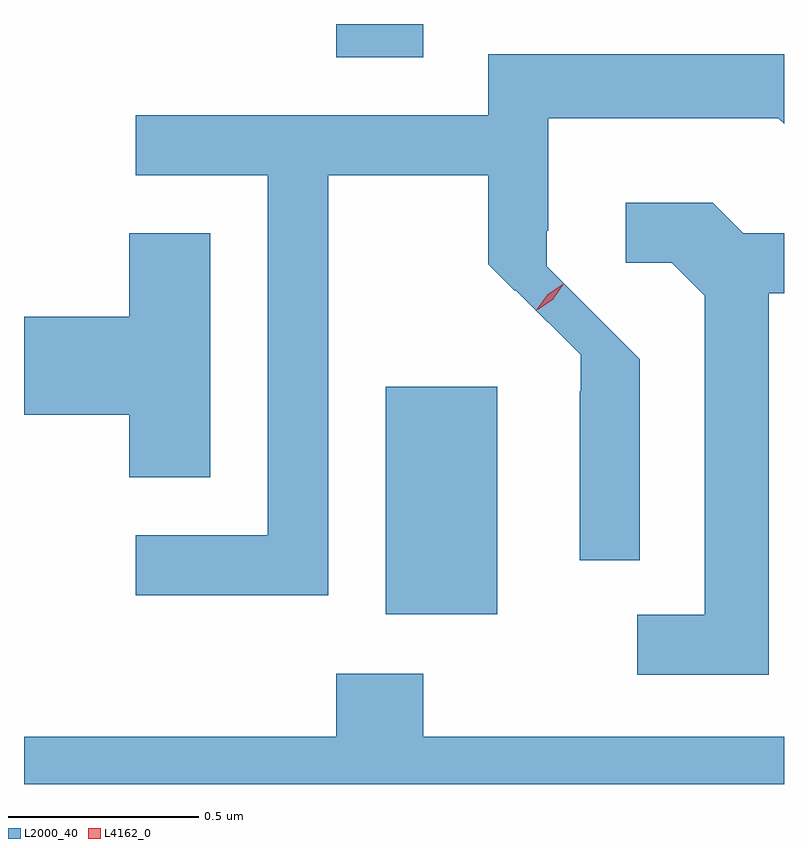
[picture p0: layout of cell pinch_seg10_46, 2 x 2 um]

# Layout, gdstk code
import gdstk
lib = gdstk.Library(unit=1e-6, precision=1e-09)
def R(c, l, rs):  # rectangles x0, y0, x1, y1
    for r in rs: c.add(gdstk.rectangle(r[:2], r[2:], *l))
def P(c, l, *ps):  # polygons
    for p in ps: c.add(gdstk.Polygon(p, *l))
L2000_40 = (2000, 40)
L4162_0 = (4162, 0)

pinch_seg10_46 = lib.new_cell('pinch_seg10_46')
R(pinch_seg10_46, L2000_40, [(598.921,2192.206,599.214,2192.804), (598.791,2193.671,599.019,2193.759)])
P(pinch_seg10_46, L2000_40, [(598.769,2193.361),(599.191,2193.361),(599.191,2193.127),(599.261,2193.057),(599.263,2193.059),(599.434,2192.888),(599.434,2192.792),(599.431,2192.792),(599.431,2192.348),(599.589,2192.348),(599.589,2192.877),(599.345,2193.121),(599.345,2193.215),(599.349,2193.215),(599.349,2193.511),(599.954,2193.511),(599.969,2193.496),(599.969,2193.679),(599.191,2193.679),(599.191,2193.519),(598.263,2193.519),(598.263,2193.361),(598.611,2193.361),(598.611,2192.414),(598.263,2192.414),(598.263,2192.256),(598.769,2192.256)],
  [(599.929,2193.051),(599.969,2193.051),(599.969,2193.209),(599.862,2193.209),(599.782,2193.289),(599.553,2193.289),(599.553,2193.131),(599.674,2193.131),(599.761,2193.044),(599.761,2192.204),(599.583,2192.204),(599.583,2192.046),(599.929,2192.046)],
  [(598.459,2193.209),(598.246,2193.209),(598.246,2192.989),(597.969,2192.989),(597.969,2192.731),(598.246,2192.731),(598.246,2192.566),(598.459,2192.566)],
  [(599.969,2191.884),(599.019,2191.884),(599.019,2192.049),(598.791,2192.049),(598.791,2191.884),(597.969,2191.884),(597.969,2191.759),(599.969,2191.759)])
P(pinch_seg10_46, L4162_0, [(599.321,2193.01),(599.321,2193.01),(599.347,2193.048),(599.385,2193.072),(599.386,2193.072),(599.386,2193.072),(599.36,2193.034),(599.322,2193.01)],
  [(599.317,2193.006),(599.317,2193.006),(599.347,2193.048),(599.389,2193.076),(599.39,2193.076),(599.39,2193.075),(599.361,2193.033),(599.318,2193.006)])

lib.write_gds('pinch_seg10_46.gds')
